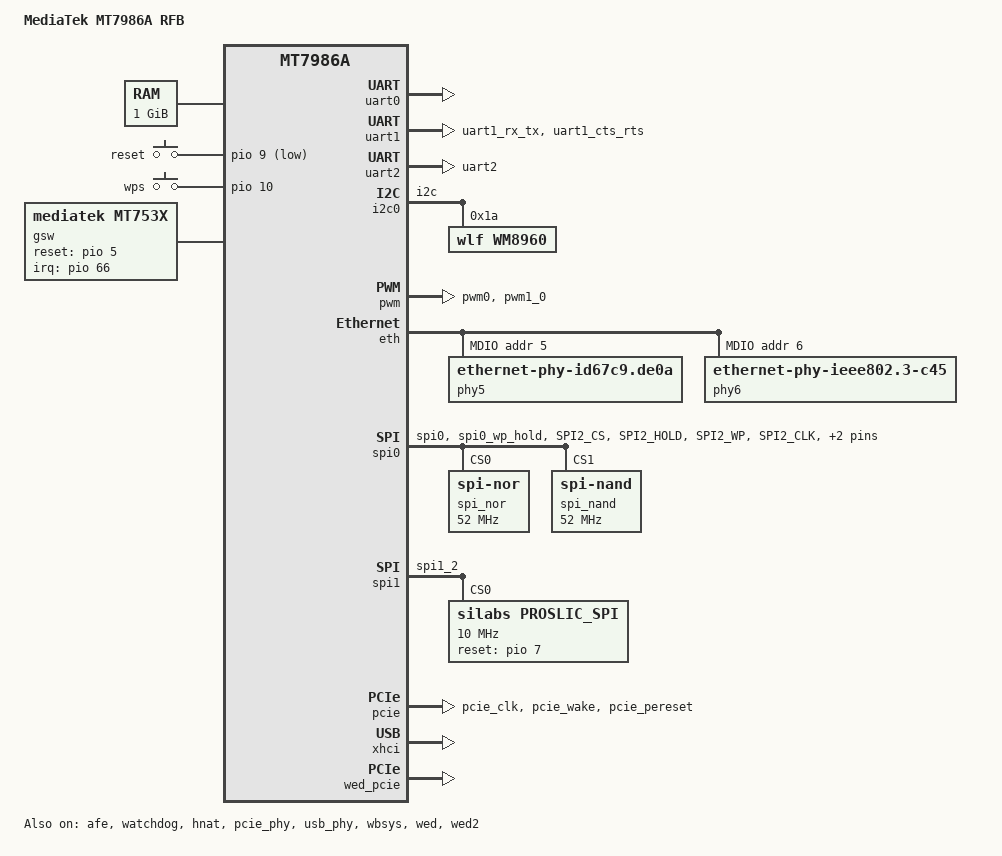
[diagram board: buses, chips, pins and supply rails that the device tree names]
/dts-v1/;
#include <dt-bindings/gpio/gpio.h>
#include <dt-bindings/pinctrl/mt65xx.h>
#include <dt-bindings/input/input.h>
#include "mt7986a.dtsi"
/ {
	model = "MediaTek MT7986A RFB";
	compatible = "mediatek,mt7986a-spim-snand-rfb", "mediatek,mt7986a";

	chosen {
		bootargs = "console=ttyS0,115200n1 loglevel=8 earlycon=uart8250,mmio32,0x11002000";
	};

	memory@40000000 {
		device_type = "memory";
		reg = <0 0x40000000 0 0x40000000>;
	};

	gpio-keys {
		compatible = "gpio-keys";

		reset {
			label = "reset";
			linux,code = <KEY_RESTART>;
			gpios = <&pio 9 GPIO_ACTIVE_LOW>;
		};

		wps {
			label = "wps";
			linux,code = <KEY_WPS_BUTTON>;
			gpios = <&pio 10 GPIO_ACTIVE_HIGH>;
		};
	};

	nmbm_spim_nand {
		compatible = "generic,nmbm";
		lower-mtd-device = <&spi_nand>;
		forced-create;

		partitions {
			compatible = "fixed-partitions";
			#address-cells = <1>;
			#size-cells = <1>;

			partition@0 {
				label = "BL2";
				reg = <0x00000 0x0100000>;
				read-only;
			};

			partition@100000 {
				label = "u-boot-env";
				reg = <0x0100000 0x0080000>;
			};

			factory: partition@180000 {
				label = "Factory";
				reg = <0x180000 0x0200000>;
			};

			partition@380000 {
				label = "FIP";
				reg = <0x380000 0x0200000>;
			};

			partition@580000 {
				label = "ubi";
				reg = <0x580000 0x4000000>;
			};
		};
	};

	sound_wm8960 {
		compatible = "mediatek,mt79xx-wm8960-machine";
		mediatek,platform = <&afe>;
		audio-routing = "Headphone", "HP_L",
				"Headphone", "HP_R",
				"LINPUT1", "AMIC",
				"RINPUT1", "AMIC";
		mediatek,audio-codec = <&wm8960>;
		status = "okay";
	};

	sound_si3218x {
		compatible = "mediatek,mt79xx-si3218x-machine";
		mediatek,platform = <&afe>;
		mediatek,ext-codec = <&proslic_spi>;
		status = "okay";
	};

	gsw: gsw-sgmii0 {
		compatible = "mediatek,mt753x";
		#address-cells = <1>;
		#size-cells = <0>;
		mediatek,ethsys = <&ethsys>;
	};
};

&uart0 {
	status = "okay";
};

&uart1 {
	pinctrl-names = "default";
	pinctrl-0 = <&uart1_pins>;
	status = "okay";
};

&uart2 {
	pinctrl-names = "default";
	pinctrl-0 = <&uart2_pins>;
	status = "okay";
};

&afe {
	pinctrl-names = "default";
	pinctrl-0 = <&pcm_pins>;
	status = "okay";
};

&i2c0 {
	pinctrl-names = "default";
	pinctrl-0 = <&i2c_pins>;
	status = "okay";

	wm8960: wm8960@1a {
		compatible = "wlf,wm8960";
		reg = <0x1a>;
	};
};

&fan {
	pwms = <&pwm 1 50000 0>;
	status = "disabled";
};

&pwm {
	pinctrl-names = "default";
	pinctrl-0 = <&pwm0_pin &pwm1_pin_g0>;
	status = "okay";
};

&watchdog {
	status = "okay";
};

&eth {
	status = "okay";
	mediatek,gsw = <&gsw>;

	gmac0: mac@0 {
		compatible = "mediatek,eth-mac";
		reg = <0>;
		phy-mode = "2500base-x";

		fixed-link {
			speed = <2500>;
			full-duplex;
			pause;
			link-gpio = <&pio 47 0>;
			phy-handle = <&phy5>;
			label = "lan5";
		};
	};

	gmac1: mac@1 {
		compatible = "mediatek,eth-mac";
		reg = <1>;
		phy-mode = "2500base-x";
		phy-handle = <&phy6>;
	};

	mdio: mdio-bus {
		#address-cells = <1>;
		#size-cells = <0>;

		reset-gpios = <&pio 6 1>;
		reset-assert-us = <1000>;
		reset-deassert-us = <20000>;

		phy5: phy@5 {
			compatible = "ethernet-phy-id67c9.de0a";
			reg = <5>;
		};

		phy6: phy@6 {
			compatible = "ethernet-phy-ieee802.3-c45";
			reg = <6>;
		};
	};
};

&hnat {
	mtketh-wan = "eth1";
	mtketh-lan = "eth0";
	mtketh-max-gmac = <2>;
	status = "okay";
};

&gsw {
	mediatek,mdio = <&mdio>;
	mediatek,portmap = "lllll";
	mediatek,mdio_master_pinmux = <1>;
	reset-gpios = <&pio 5 0>;
	interrupt-parent = <&pio>;
	interrupts = <66 IRQ_TYPE_LEVEL_HIGH>;
	status = "okay";

	port5: port@5 {
		compatible = "mediatek,mt753x-port";
		reg = <5>;
		phy-mode = "sgmii";

		fixed-link {
			speed = <2500>;
			full-duplex;
		};
	};

	port6: port@6 {
		compatible = "mediatek,mt753x-port";
		/* mediatek,ssc-on; */
		reg = <6>;
		phy-mode = "sgmii";
		fixed-link {
			speed = <2500>;
			full-duplex;
		};
	};
};

&spi0 {
	pinctrl-names = "default";
	pinctrl-0 = <&spi_flash_pins>;
	cs-gpios = <0>, <0>;
	status = "okay";

	spi_nor@0 {
		#address-cells = <1>;
		#size-cells = <1>;
		compatible = "jedec,spi-nor";
		reg = <0>;
		spi-max-frequency = <52000000>;
		spi-tx-bus-width = <4>;
		spi-rx-bus-width = <4>;
	};

	spi_nand: spi_nand@1 {
		#address-cells = <1>;
		#size-cells = <1>;
		compatible = "spi-nand";
		reg = <1>;
		spi-max-frequency = <52000000>;
		spi-tx-bus-width = <4>;
		spi-rx-bus-width = <4>;
	};
};

&spi1 {
	pinctrl-names = "default";
	pinctrl-0 = <&spic_pins_g2>;
	status = "okay";

	proslic_spi: proslic_spi@0 {
		compatible = "silabs,proslic_spi";
		reg = <0>;
		spi-max-frequency = <10000000>;
		spi-cpha = <1>;
		spi-cpol = <1>;
		channel_count = <1>;
		debug_level = <4>;       /* 1 = TRC, 2 = DBG, 4 = ERR */
		reset_gpio = <&pio 7 0>;
		ig,enable-spi = <1>;     /* 1: Enable, 0: Disable */
	};
};

&pcie_phy {
	status = "okay";
};

&pcie {
	pinctrl-names = "default";
	pinctrl-0 = <&pcie_pins>;
	status = "okay";
};

&usb_phy {
	status = "okay";
};

&xhci {
	status = "okay";
};

&wbsys {
	pinctrl-names = "default", "dbdc";
	pinctrl-0 = <&wf_2g_5g_pins>;
	pinctrl-1 = <&wf_dbdc_pins>;
	mediatek,mtd-eeprom = <&factory 0x0000>;
	status = "okay";
};

&wed {
	status = "okay";
};

&wed2 {
	status = "okay";
};

&wed_pcie {
	status = "okay";
};

&pio {
	wf_led_pins: wf-led-pins-1-2 {
		mux {
			function = "led";
			groups = "wf2g_led", "wf5g_led";
		};
	};

	i2c_pins: i2c-pins-3-4 {
		mux {
			function = "i2c";
			groups = "i2c";
		};
	};

	uart1_pins_g0: uart1-pins-7-to-10 {
		mux {
			function = "uart";
			groups = "uart1_0";
		};
	};

	pcie_pins: pcie-pins-9-10-41 {
		mux {
			function = "pcie";
			groups = "pcie_clk", "pcie_wake", "pcie_pereset";
		};
	};

	spic_pins_g0: spic-pins-11-to-14 {
		mux {
			function = "spi";
			groups = "spi1_0";
		};
	};

	jtag_pins: jtag-pins-11-to-15 {
		mux {
			function = "jtag";
			groups = "jtag";
		};
	};

	pwm1_pin_g1: pwm1-pin-20 {
		mux {
			function = "pwm";
			groups = "pwm1_1";
		};
	};

	pwm0_pin: pwm0-pin-21 {
		mux {
			function = "pwm";
			groups = "pwm0";
		};
	};

	pwm1_pin_g0: pwm1-pin-22 {
		mux {
			function = "pwm";
			groups = "pwm1_0";
		};
	};

	spic_pins_g1: spic-pins-23-to-26 {
		mux {
			function = "spi";
			groups = "spi1_1";
		};
	};

	uart1_pins_g1: uart1-pins-23-to-26 {
		mux {
			function = "uart";
			groups = "uart1_1";
		};
	};

	spic_pins_g2: spic-pins-29-to-32 {
		mux {
			function = "spi";
			groups = "spi1_2";
		};
	};

	uart1_pins_g2: uart1-pins-29-to-32 {
		mux {
			function = "uart";
			groups = "uart1_2_rx_tx", "uart1_2_cts_rts";
		};
	};

	uart2_pins_g0: uart2-pins-29-to-32 {
		mux {
			function = "uart";
			groups = "uart2_0_rx_tx", "uart2_0_cts_rts";
		};
	};

	spi_flash_pins: spi0-flash-pins-33-to-38 {
		mux {
			function = "spi";
			groups = "spi0", "spi0_wp_hold";
		};

		conf-pu {
			pins = "SPI2_CS", "SPI2_HOLD", "SPI2_WP";
			drive-strength = <MTK_DRIVE_8mA>;
			mediatek,pull-up-adv = <3>;	/* pull-up 75k */
		};

		conf-pd {
			pins = "SPI2_CLK", "SPI2_MOSI", "SPI2_MISO";
			drive-strength = <MTK_DRIVE_8mA>;
			mediatek,pull-down-adv = <3>;	/* pull-down 75k */
		};
	};

	uart1_pins: uart1-pins-42-to-45 {
		mux {
			function = "uart";
			groups = "uart1_rx_tx", "uart1_cts_rts";
		};
	};

	uart2_pins: uart2-pins-46-to-49 {
		mux {
			function = "uart";
			groups = "uart2";
		};
	};

	pcm_pins: pcm-pins-62-to-65 {
		mux {
			function = "pcm";
			groups = "pcm";
		};
	};

	wf_2g_5g_pins: wf-2g-5g-pins {
		mux {
			function = "wifi";
			groups = "wf_2g", "wf_5g";
		};

		conf {
			pins = "WF0_HB1", "WF0_HB2", "WF0_HB3", "WF0_HB4",
			       "WF0_HB0", "WF0_HB0_B", "WF0_HB5", "WF0_HB6",
			       "WF0_HB7", "WF0_HB8", "WF0_HB9", "WF0_HB10",
			       "WF0_TOP_CLK", "WF0_TOP_DATA", "WF1_HB1",
			       "WF1_HB2", "WF1_HB3", "WF1_HB4", "WF1_HB0",
			       "WF1_HB5", "WF1_HB6", "WF1_HB7", "WF1_HB8",
			       "WF1_TOP_CLK", "WF1_TOP_DATA";
			drive-strength = <MTK_DRIVE_4mA>;
		};
	};

	wf_dbdc_pins: wf-dbdc-pins {
		mux {
			function = "wifi";
			groups = "wf_dbdc";
		};

		conf {
			pins = "WF0_HB1", "WF0_HB2", "WF0_HB3", "WF0_HB4",
			       "WF0_HB0", "WF0_HB0_B", "WF0_HB5", "WF0_HB6",
			       "WF0_HB7", "WF0_HB8", "WF0_HB9", "WF0_HB10",
			       "WF0_TOP_CLK", "WF0_TOP_DATA", "WF1_HB1",
			       "WF1_HB2", "WF1_HB3", "WF1_HB4", "WF1_HB0",
			       "WF1_HB5", "WF1_HB6", "WF1_HB7", "WF1_HB8",
			       "WF1_TOP_CLK", "WF1_TOP_DATA";
			drive-strength = <MTK_DRIVE_4mA>;
		};
	};
};
